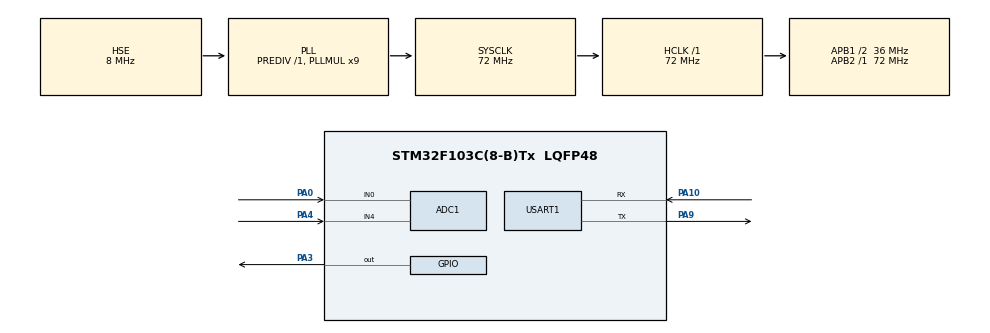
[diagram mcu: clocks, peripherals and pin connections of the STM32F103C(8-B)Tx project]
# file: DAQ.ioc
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ADC1.Channel-1\#ChannelRegularConversion=ADC_CHANNEL_0
ADC1.ContinuousConvMode=DISABLE
ADC1.NbrOfConversion=1
ADC1.NbrOfConversionFlag=1
ADC1.Rank-1\#ChannelRegularConversion=1
ADC1.SamplingTime-1\#ChannelRegularConversion=ADC_SAMPLETIME_1CYCLE_5
ADC1.master=1
Mcu.Family=STM32F1
Mcu.Name=STM32F103C(8-B)Tx
Mcu.Package=LQFP48
NVIC.PriorityGroup=NVIC_PRIORITYGROUP_4
PA0-WKUP.Signal=ADCx_IN0
PA10.Mode=Asynchronous
PA10.Signal=USART1_RX
PA13.Mode=Serial_Wire
PA13.Signal=SYS_JTMS-SWDIO
PA14.Mode=Serial_Wire
PA14.Signal=SYS_JTCK-SWCLK
PA3.GPIO_ModeDefaultOutputPP=GPIO_MODE_OUTPUT_OD
PA3.GPIO_PuPd=GPIO_NOPULL
PA3.GPIO_Speed=GPIO_SPEED_FREQ_HIGH
PA3.PinState=GPIO_PIN_RESET
PA3.Signal=GPIO_Output
PA4.Signal=ADCx_IN4
PA9.Mode=Asynchronous
PA9.Signal=USART1_TX
PD0-OSC_IN.Mode=HSE-External-Oscillator
PD0-OSC_IN.Signal=RCC_OSC_IN
PD1-OSC_OUT.Mode=HSE-External-Oscillator
PD1-OSC_OUT.Signal=RCC_OSC_OUT
ProjectManager.HeapSize=0x200
ProjectManager.StackSize=0x400
ProjectManager.TargetToolchain=STM32CubeIDE
RCC.ADCPresc=RCC_ADCPCLK2_DIV6
RCC.AHBFreq_Value=72000000
RCC.APB1CLKDivider=RCC_HCLK_DIV2
RCC.APB1Freq_Value=36000000
RCC.APB1TimFreq_Value=72000000
RCC.APB2Freq_Value=72000000
RCC.APB2TimFreq_Value=72000000
RCC.HCLKFreq_Value=72000000
RCC.PLLMUL=RCC_PLL_MUL9
RCC.PLLSourceVirtual=RCC_PLLSOURCE_HSE
RCC.SYSCLKFreq_VALUE=72000000
RCC.SYSCLKSource=RCC_SYSCLKSOURCE_PLLCLK
RCC.USBFreq_Value=72000000
SH.ADCx_IN0.0=ADC1_IN0,IN0
SH.ADCx_IN4.0=ADC1_IN4,IN4
USART1.VirtualMode=VM_ASYNC
VP_TIM2_VS_ClockSourceINT.Mode=Internal
board=custom

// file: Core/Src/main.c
/* USER CODE BEGIN Header */
/**
  ******************************************************************************
  * @file           : main.c
  * @brief          : Main program body
  ******************************************************************************
  * @attention
  *
  * Copyright (c) 2026 STMicroelectronics.
  * All rights reserved.
  *
  * This software is licensed under terms that can be found in the LICENSE file
  * in the root directory of this software component.
  * If no LICENSE file comes with this software, it is provided AS-IS.
  *
  ******************************************************************************
  */

#include <math.h>
/* USER CODE END Header */
#include "main.h"

/* USER CODE BEGIN Includes */
#include "ds18b20.h"
#include "mq8.h"
#include "acs712.h"

/* USER CODE END Includes */

ADC_HandleTypeDef hadc1;

TIM_HandleTypeDef htim2;

UART_HandleTypeDef huart1;

void SystemClock_Config(void);
static void MX_GPIO_Init(void);
static void MX_USART1_UART_Init(void);
static void MX_ADC1_Init(void);
static void MX_TIM2_Init(void);

int main(void)
{

  /* MCU Configuration--------------------------------------------------------*/

  /* Reset of all peripherals, Initializes the Flash interface and the Systick. */
  HAL_Init();

  /* Configure the system clock */
  SystemClock_Config();

  /* Initialize all configured peripherals */
  MX_GPIO_Init();
  MX_USART1_UART_Init();
  MX_ADC1_Init();
  MX_TIM2_Init();
  /* USER CODE BEGIN 2 */

  char SB = 0b01010101;
  float hum = 0;
  DS18B20_Init(&htim2);

  /* USER CODE END 2 */

  /* Infinite loop */
  /* USER CODE BEGIN WHILE */

  while(1)
  {
      // DS18B20 channel ========================================================================
      float temp = DS18B20_GetTemp();
      // MQ-8 channel ===========================================================================
      float hydrogen = MQ8_GetPPM(&hadc1);
      //ACS712 channel ========================================================================
      float current = ACS712_GetCurrent(&hadc1);

      //Main sending ========================================================================

      HAL_UART_Transmit(&huart1, (uint8_t*)&SB,       1, HAL_MAX_DELAY);
      HAL_UART_Transmit(&huart1, (uint8_t*)&temp,     4, HAL_MAX_DELAY);
      HAL_UART_Transmit(&huart1, (uint8_t*)&current,  4, HAL_MAX_DELAY);
      HAL_UART_Transmit(&huart1, (uint8_t*)&hydrogen, 4, HAL_MAX_DELAY);
      HAL_UART_Transmit(&huart1, (uint8_t*)&hum,      4, HAL_MAX_DELAY);

      HAL_Delay(1000);

    /* USER CODE END WHILE */

  }
}

void SystemClock_Config(void)
{
  RCC_OscInitTypeDef RCC_OscInitStruct = {0};
  RCC_ClkInitTypeDef RCC_ClkInitStruct = {0};
  RCC_PeriphCLKInitTypeDef PeriphClkInit = {0};

  /** Initializes the RCC Oscillators according to the specified parameters
  * in the RCC_OscInitTypeDef structure.
  */
  RCC_OscInitStruct.OscillatorType = RCC_OSCILLATORTYPE_HSE;
  RCC_OscInitStruct.HSEState = RCC_HSE_ON;
  RCC_OscInitStruct.HSEPredivValue = RCC_HSE_PREDIV_DIV1;
  RCC_OscInitStruct.HSIState = RCC_HSI_ON;
  RCC_OscInitStruct.PLL.PLLState = RCC_PLL_ON;
  RCC_OscInitStruct.PLL.PLLSource = RCC_PLLSOURCE_HSE;
  RCC_OscInitStruct.PLL.PLLMUL = RCC_PLL_MUL9;
  if (HAL_RCC_OscConfig(&RCC_OscInitStruct) != HAL_OK)
  {
    Error_Handler();
  }

  /** Initializes the CPU, AHB and APB buses clocks
  */
  RCC_ClkInitStruct.ClockType = RCC_CLOCKTYPE_HCLK|RCC_CLOCKTYPE_SYSCLK
                              |RCC_CLOCKTYPE_PCLK1|RCC_CLOCKTYPE_PCLK2;
  RCC_ClkInitStruct.SYSCLKSource = RCC_SYSCLKSOURCE_PLLCLK;
  RCC_ClkInitStruct.AHBCLKDivider = RCC_SYSCLK_DIV1;
  RCC_ClkInitStruct.APB1CLKDivider = RCC_HCLK_DIV2;
  RCC_ClkInitStruct.APB2CLKDivider = RCC_HCLK_DIV1;

  if (HAL_RCC_ClockConfig(&RCC_ClkInitStruct, FLASH_LATENCY_2) != HAL_OK)
  {
    Error_Handler();
  }
  PeriphClkInit.PeriphClockSelection = RCC_PERIPHCLK_ADC;
  PeriphClkInit.AdcClockSelection = RCC_ADCPCLK2_DIV6;
  if (HAL_RCCEx_PeriphCLKConfig(&PeriphClkInit) != HAL_OK)
  {
    Error_Handler();
  }
}

static void MX_ADC1_Init(void)
{

  ADC_ChannelConfTypeDef sConfig = {0};

  /** Common config
  */
  hadc1.Instance = ADC1;
  hadc1.Init.ScanConvMode = ADC_SCAN_DISABLE;
  hadc1.Init.ContinuousConvMode = DISABLE;
  hadc1.Init.DiscontinuousConvMode = DISABLE;
  hadc1.Init.ExternalTrigConv = ADC_SOFTWARE_START;
  hadc1.Init.DataAlign = ADC_DATAALIGN_RIGHT;
  hadc1.Init.NbrOfConversion = 1;
  if (HAL_ADC_Init(&hadc1) != HAL_OK)
  {
    Error_Handler();
  }

  /** Configure Regular Channel
  */
  sConfig.Channel = ADC_CHANNEL_0;
  sConfig.Rank = ADC_REGULAR_RANK_1;
  sConfig.SamplingTime = ADC_SAMPLETIME_1CYCLE_5;
  if (HAL_ADC_ConfigChannel(&hadc1, &sConfig) != HAL_OK)
  {
    Error_Handler();
  }

}

static void MX_TIM2_Init(void)
{

  TIM_ClockConfigTypeDef sClockSourceConfig = {0};
  TIM_MasterConfigTypeDef sMasterConfig = {0};

  htim2.Instance = TIM2;
  htim2.Init.Prescaler = 71;
  htim2.Init.CounterMode = TIM_COUNTERMODE_UP;
  htim2.Init.Period = 65535;
  htim2.Init.ClockDivision = TIM_CLOCKDIVISION_DIV1;
  htim2.Init.AutoReloadPreload = TIM_AUTORELOAD_PRELOAD_DISABLE;
  if (HAL_TIM_Base_Init(&htim2) != HAL_OK)
  {
    Error_Handler();
  }
  sClockSourceConfig.ClockSource = TIM_CLOCKSOURCE_INTERNAL;
  if (HAL_TIM_ConfigClockSource(&htim2, &sClockSourceConfig) != HAL_OK)
  {
    Error_Handler();
  }
  sMasterConfig.MasterOutputTrigger = TIM_TRGO_RESET;
  sMasterConfig.MasterSlaveMode = TIM_MASTERSLAVEMODE_DISABLE;
  if (HAL_TIMEx_MasterConfigSynchronization(&htim2, &sMasterConfig) != HAL_OK)
  {
    Error_Handler();
  }

}

static void MX_USART1_UART_Init(void)
{

  huart1.Instance = USART1;
  huart1.Init.BaudRate = 115200;
  huart1.Init.WordLength = UART_WORDLENGTH_8B;
  huart1.Init.StopBits = UART_STOPBITS_1;
  huart1.Init.Parity = UART_PARITY_NONE;
  huart1.Init.Mode = UART_MODE_TX_RX;
  huart1.Init.HwFlowCtl = UART_HWCONTROL_NONE;
  huart1.Init.OverSampling = UART_OVERSAMPLING_16;
  if (HAL_UART_Init(&huart1) != HAL_OK)
  {
    Error_Handler();
  }

}

static void MX_GPIO_Init(void)
{
  GPIO_InitTypeDef GPIO_InitStruct = {0};

  /* GPIO Ports Clock Enable */
  __HAL_RCC_GPIOD_CLK_ENABLE();
  __HAL_RCC_GPIOA_CLK_ENABLE();

  /*Configure GPIO pin Output Level */
  HAL_GPIO_WritePin(GPIOA, GPIO_PIN_3, GPIO_PIN_RESET);

  /*Configure GPIO pin : PA3 */
  GPIO_InitStruct.Pin = GPIO_PIN_3;
  GPIO_InitStruct.Mode = GPIO_MODE_OUTPUT_OD;
  GPIO_InitStruct.Pull = GPIO_NOPULL;
  GPIO_InitStruct.Speed = GPIO_SPEED_FREQ_HIGH;
  HAL_GPIO_Init(GPIOA, &GPIO_InitStruct);

}

void Error_Handler(void)
{
  __disable_irq();
  while (1)
  {
  }
}
